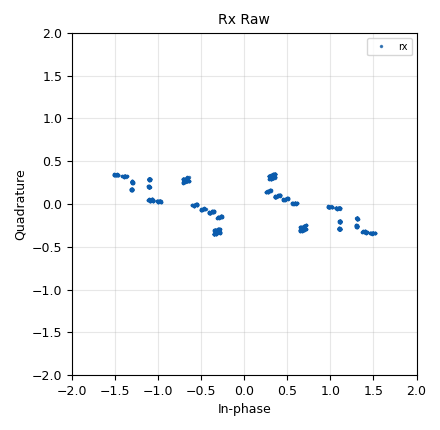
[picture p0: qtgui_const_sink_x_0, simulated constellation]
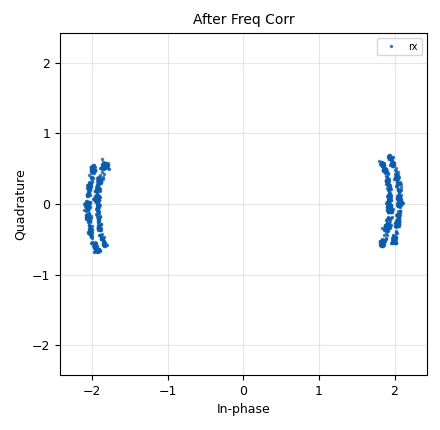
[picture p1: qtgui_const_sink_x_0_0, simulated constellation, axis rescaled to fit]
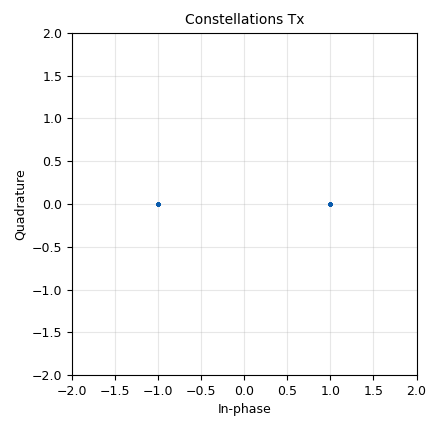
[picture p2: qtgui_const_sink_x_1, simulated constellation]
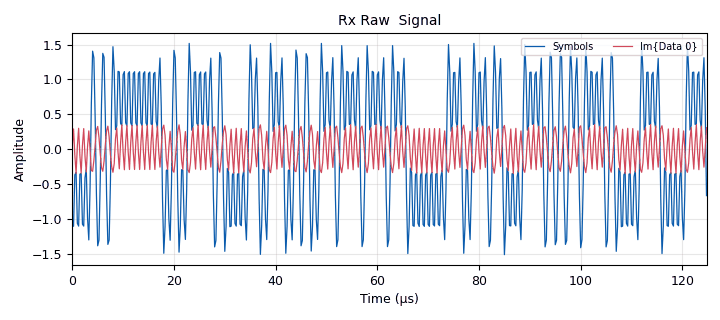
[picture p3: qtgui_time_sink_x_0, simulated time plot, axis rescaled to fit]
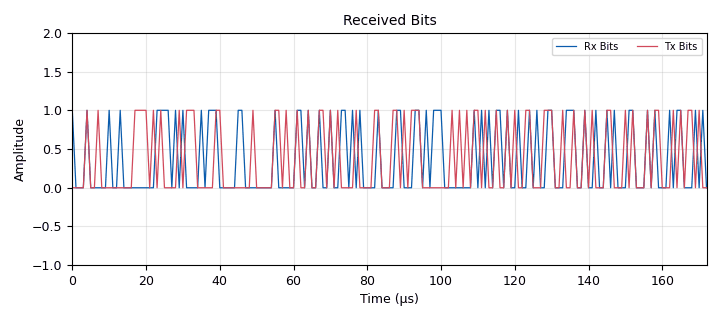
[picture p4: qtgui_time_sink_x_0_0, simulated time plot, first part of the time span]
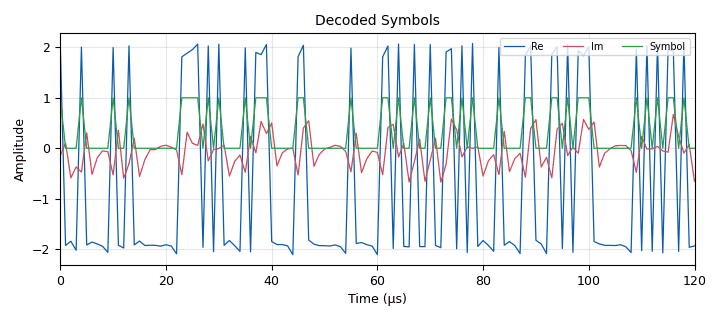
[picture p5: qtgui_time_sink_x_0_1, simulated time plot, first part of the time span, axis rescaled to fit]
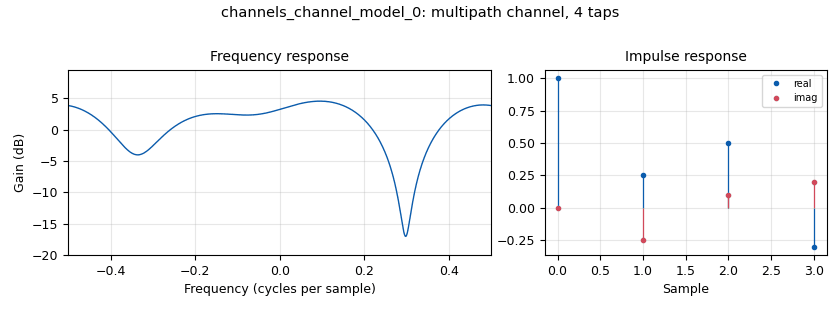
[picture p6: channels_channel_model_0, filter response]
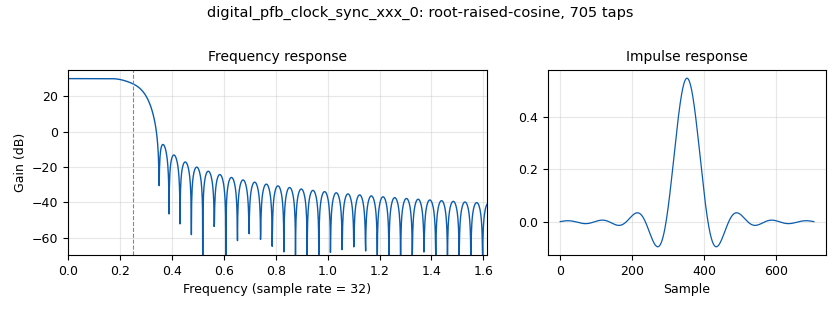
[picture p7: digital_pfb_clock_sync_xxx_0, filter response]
options:
  parameters:
    author: root
    generate_options: qt_gui
    id: test
    output_language: python
    title: Not titled yet
  states: {}

blocks:
- name: arity
  id: variable
  parameters:
    value: '2'
  states: {}
- name: bits_per_chunk
  id: variable
  parameters:
    value: int(math.log2(arity))
  states: {}
- name: bits_per_symbol
  id: variable
  parameters:
    value: math.log2(arity)
  states: {}
- name: bpsk
  id: variable_constellation_rect
  parameters:
    const_points: '[-1,1]'
    imag_sect: '2'
    real_sect: '2'
    rot_sym: '4'
    sym_map: '[0, 1]'
    w_imag_sect: '1'
    w_real_sect: '1'
  states: {}
- name: chunks_per_byte
  id: variable
  parameters:
    value: int(8/bits_per_chunk)
  states: {}
- name: delay
  id: variable_qtgui_range
  parameters:
    gui_hint: 1,0,1,1
    label: Delay
    start: '0'
    step: '1'
    stop: '200'
    value: '1'
  states: {}
- name: eq_gain
  id: variable_qtgui_range
  parameters:
    gui_hint: 'controls@1: 0,1,1,1'
    label: 'Equalizer: rate'
    start: '0.0'
    step: '0.001'
    stop: '0.1'
    value: '0.01'
    widget: slider
  states: {}
- name: freq_offset
  id: variable_qtgui_range
  parameters:
    gui_hint: 'controls@0: 0,1,1,1'
    label: Frequency Offset
    start: '-0.1'
    step: '0.001'
    stop: '0.1'
    value: '0'
  states: {}
- name: nfilts
  id: variable
  parameters:
    value: '32'
  states: {}
- name: noise_volt
  id: variable_qtgui_range
  parameters:
    gui_hint: 'controls@0: 0,0,1,1'
    label: Noise Voltage
    start: '0'
    step: '0.01'
    stop: '1'
    value: '0'
  states: {}
- name: phase_bw
  id: variable_qtgui_range
  parameters:
    gui_hint: 'controls@1: 0,2,1,1'
    label: 'Phase: Bandwidth'
    start: '0.0'
    step: '0.01'
    stop: '1.0'
    value: 6.28/100.0
    widget: slider
  states: {}
- name: rf_samp_rate
  id: variable
  parameters:
    value: samp_rate * chunks_per_byte * rrc_interpolation
  states: {}
- name: rrc_interpolation
  id: variable
  parameters:
    value: '4'
  states: {}
- name: rrc_taps
  id: variable_rrc_filter_taps
  parameters:
    alpha: '0.35'
    gain: '2'
    ntaps: 11*sps
    samp_rate: samp_rate * 4
    sym_rate: samp_rate * 4 / sps
  states: {}
- name: rrc_taps_rx
  id: variable
  parameters:
    value: firdes.root_raised_cosine(nfilts, nfilts, 1.0/float(sps), 0.35, 11*sps*nfilts)
  states: {}
- name: samp_rate
  id: variable
  parameters:
    value: 125e3
  states: {}
- name: sps
  id: variable
  parameters:
    value: '2'
  states: {}
- name: taps
  id: variable
  parameters:
    value: '[1.0, 0.25-0.25j, 0.50 + 0.10j, -0.3 + 0.2j]'
  states: {}
- name: time_offset
  id: variable_qtgui_range
  parameters:
    gui_hint: 'controls@0: 0,2,1,1'
    label: Timing Offset
    start: '0.999'
    step: '0.0001'
    stop: '1.001'
    value: '1.00'
  states: {}
- name: timing_loop_bw
  id: variable_qtgui_range
  parameters:
    gui_hint: 'controls@1: 0,0,1,1'
    label: 'Time: BW'
    start: '0.0'
    step: '0.01'
    stop: '0.2'
    value: 6.28/100.0
    widget: slider
  states: {}
- name: variable_adaptive_algorithm_0
  id: variable_adaptive_algorithm
  parameters:
    cons: bpsk
    modulus: '4'
    step_size: '100e-6'
    type: cma
  states: {}
- name: analog_random_source_x_0
  id: analog_random_source_x
  parameters:
    max: '256'
    min: '0'
    num_samps: '1000'
    repeat: 'True'
    type: byte
  states: {}
- name: blocks_char_to_float_0
  id: blocks_char_to_float
  parameters:
    scale: '1'
  states: {}
- name: blocks_char_to_float_0_0
  id: blocks_char_to_float
  parameters:
    scale: '1'
  states: {}
- name: blocks_char_to_float_0_0_0
  id: blocks_char_to_float
  parameters:
    scale: '1'
  states: {}
- name: blocks_complex_to_float_0
  id: blocks_complex_to_float
  parameters: {}
  states: {}
- name: blocks_delay_0
  id: blocks_delay
  parameters:
    delay: int(delay)
    type: float
  states: {}
- name: blocks_message_debug_0
  id: blocks_message_debug
  parameters: {}
  states: {}
- name: blocks_packed_to_unpacked_xx_0
  id: blocks_packed_to_unpacked_xx
  parameters:
    bits_per_chunk: bits_per_chunk
    comment: |-
      1M chunks (symbols) per sec
      samp_rate * chunks_per_byte
      samp_rate is 125 K
      chunks_per_byte is 8
    endianness: gr.GR_MSB_FIRST
    type: byte
  states: {}
- name: blocks_probe_rate_0
  id: blocks_probe_rate
  parameters:
    alpha: '0.15'
    mintime: '500.0'
    type: byte
  states: {state: disabled}
- name: blocks_throttle_0
  id: blocks_throttle
  parameters:
    samples_per_second: samp_rate
    type: byte
  states: {}
- name: blocks_unpack_k_bits_bb_0
  id: blocks_unpack_k_bits_bb
  parameters:
    comment: 4M bits/sec
    k: bits_per_chunk
  states: {}
- name: blocks_unpack_k_bits_bb_0_0
  id: blocks_unpack_k_bits_bb
  parameters:
    k: '8'
  states: {}
- name: blocks_vector_source_x_0
  id: blocks_vector_source_x
  parameters:
    repeat: 'True'
    type: byte
    vector: 20*[0,]+[1,]+[0]
  states: {state: disabled}
- name: channels_channel_model_0
  id: channels_channel_model
  parameters:
    epsilon: time_offset
    freq_offset: freq_offset
    noise_voltage: noise_volt
    seed: '0'
    taps: taps
  states: {}
- name: controls
  id: qtgui_tab_widget
  parameters:
    gui_hint: 0,0,1,2
    label0: Channel
    label1: Receiver
    num_tabs: '2'
  states: {}
- name: digital_chunks_to_symbols_xx_0
  id: digital_chunks_to_symbols_xx
  parameters:
    dimension: '1'
    in_type: byte
    out_type: complex
    symbol_table: '[-1,1]'
  states: {}
- name: digital_constellation_decoder_cb_0
  id: digital_constellation_decoder_cb
  parameters:
    comment: |-
      2M symbols/sec
      (1 symbol / sample)
    constellation: bpsk
  states: {}
- name: digital_costas_loop_cc_0
  id: digital_costas_loop_cc
  parameters:
    order: arity
    w: phase_bw
  states: {}
- name: digital_linear_equalizer_0
  id: digital_linear_equalizer
  parameters:
    alg: variable_adaptive_algorithm_0
    comment: |-
      2M symbols/sec
      (1 symbol / sample)
    num_taps: '15'
    sps: '2'
    training_sequence: '[]'
  states: {}
- name: digital_map_bb_0_0
  id: digital_map_bb
  parameters:
    map: '[0,1]'
  states: {}
- name: digital_pfb_clock_sync_xxx_0
  id: digital_pfb_clock_sync_xxx
  parameters:
    comment: |-
      2M symbols / sec
      4M samples / sec
      (2 symbols / sample)
    filter_size: nfilts
    init_phase: nfilts/2
    loop_bw: timing_loop_bw
    max_dev: '1.5'
    osps: '2'
    sps: sps * 2
    taps: rrc_taps_rx
    type: ccf
  states: {}
- name: import_0
  id: import
  parameters:
    imports: import math
  states: {}
- name: interp_fir_filter_xxx_0
  id: interp_fir_filter_xxx
  parameters:
    comment: |-
      4M sample per sec
      samp_rate * chunks_per_byte * Interpolation
      125K         * 8                        * 4
    interp: rrc_interpolation
    taps: rrc_taps
    type: ccc
  states: {}
- name: note_0
  id: note
  parameters:
    note: 1 samp_rate
  states: {}
- name: note_0_0
  id: note
  parameters:
    note: 8 samp_rate
  states: {}
- name: note_0_0_0
  id: note
  parameters:
    note: 8 samp_rate
  states: {}
- name: note_0_0_0_0
  id: note
  parameters:
    note: 16 samp_rate
  states: {}
- name: note_0_0_0_0_0_0_0_0_0_0_0
  id: note
  parameters:
    note: 8 samp_rate
  states: {}
- name: note_0_0_1_0_0
  id: note
  parameters:
    note: 8 samp_rate
  states: {}
- name: note_0_0_1_0_0_0
  id: note
  parameters:
    note: 8 samp_rate
  states: {}
- name: note_0_0_1_0_0_0_0
  id: note
  parameters:
    note: 8 samp_rate
  states: {}
- name: note_0_1
  id: note
  parameters:
    note: 1 samp_rate
  states: {}
- name: note_0_1_0
  id: note
  parameters:
    note: 8 samp_rate
  states: {}
- name: qtgui_const_sink_x_0
  id: qtgui_const_sink_x
  parameters:
    label1: rx
    name: '"Rx Raw"'
    size: '1024'
    type: complex
  states: {}
- name: qtgui_const_sink_x_0_0
  id: qtgui_const_sink_x
  parameters:
    label1: rx
    name: '"After Freq Corr"'
    size: '1024'
    type: complex
  states: {}
- name: qtgui_const_sink_x_1
  id: qtgui_const_sink_x
  parameters:
    name: '"Constellations Tx"'
    size: '1024'
    type: complex
  states: {}
- name: qtgui_time_sink_x_0
  id: qtgui_time_sink_x
  parameters:
    label1: Symbols
    label2: ''
    name: Rx Raw  Signal
    size: '500'
    srate: rf_samp_rate
    type: complex
    ymax: '4'
  states: {}
- name: qtgui_time_sink_x_0_0
  id: qtgui_time_sink_x
  parameters:
    gui_hint: 2,1,1,1
    label1: Rx Bits
    label2: Tx Bits
    name: Received Bits
    nconnections: '2'
    size: '500'
    srate: samp_rate * chunks_per_byte
    type: float
    ymax: '2'
  states: {}
- name: qtgui_time_sink_x_0_1
  id: qtgui_time_sink_x
  parameters:
    label1: Re
    label2: Im
    label3: Symbol
    name: '"Decoded Symbols"'
    nconnections: '3'
    size: '500'
    srate: samp_rate * chunks_per_byte
    style1: '2'
    style2: '4'
    type: float
    ymax: '4'
  states: {}
- name: qtgui_time_sink_x_1
  id: qtgui_time_sink_x
  parameters:
    name: '"Tx Signal BB"'
    size: '1024'
    srate: rf_samp_rate
    type: complex
  states: {}
- name: virtual_sink_0
  id: virtual_sink
  parameters:
    comment: samp_rate
    stream_id: bytes_in
  states: {}
- name: virtual_sink_1
  id: virtual_sink
  parameters:
    stream_id: transmitted_signal
  states: {}
- name: virtual_sink_2
  id: virtual_sink
  parameters:
    stream_id: received_signal
  states: {}
- name: virtual_source_0
  id: virtual_source
  parameters:
    stream_id: bytes_in
  states: {}
- name: virtual_source_0_0
  id: virtual_source
  parameters:
    comment: samp_rate
    stream_id: bytes_in
  states: {}
- name: virtual_source_1
  id: virtual_source
  parameters:
    stream_id: transmitted_signal
  states: {}
- name: virtual_source_2
  id: virtual_source
  parameters:
    comment: |-
      4M sample per sec
      samp_rate * chunks_per_byte * Interpolation
      125K         * 8                        * 4
    stream_id: received_signal
  states: {}

connections:
- [analog_random_source_x_0, '0', blocks_throttle_0, '0']
- [blocks_char_to_float_0, '0', qtgui_time_sink_x_0_1, '2']
- [blocks_char_to_float_0_0, '0', qtgui_time_sink_x_0_0, '0']
- [blocks_char_to_float_0_0_0, '0', blocks_delay_0, '0']
- [blocks_complex_to_float_0, '0', qtgui_time_sink_x_0_1, '0']
- [blocks_complex_to_float_0, '1', qtgui_time_sink_x_0_1, '1']
- [blocks_delay_0, '0', qtgui_time_sink_x_0_0, '1']
- [blocks_packed_to_unpacked_xx_0, '0', digital_chunks_to_symbols_xx_0, '0']
- [blocks_probe_rate_0, rate, blocks_message_debug_0, print]
- [blocks_throttle_0, '0', virtual_sink_0, '0']
- [blocks_unpack_k_bits_bb_0, '0', blocks_char_to_float_0_0, '0']
- [blocks_unpack_k_bits_bb_0_0, '0', blocks_char_to_float_0_0_0, '0']
- [blocks_vector_source_x_0, '0', blocks_throttle_0, '0']
- [channels_channel_model_0, '0', virtual_sink_2, '0']
- [digital_chunks_to_symbols_xx_0, '0', interp_fir_filter_xxx_0, '0']
- [digital_chunks_to_symbols_xx_0, '0', qtgui_const_sink_x_1, '0']
- [digital_constellation_decoder_cb_0, '0', digital_map_bb_0_0, '0']
- [digital_costas_loop_cc_0, '0', blocks_complex_to_float_0, '0']
- [digital_costas_loop_cc_0, '0', digital_constellation_decoder_cb_0, '0']
- [digital_costas_loop_cc_0, '0', qtgui_const_sink_x_0_0, '0']
- [digital_linear_equalizer_0, '0', digital_costas_loop_cc_0, '0']
- [digital_map_bb_0_0, '0', blocks_char_to_float_0, '0']
- [digital_map_bb_0_0, '0', blocks_unpack_k_bits_bb_0, '0']
- [digital_pfb_clock_sync_xxx_0, '0', digital_linear_equalizer_0, '0']
- [interp_fir_filter_xxx_0, '0', qtgui_time_sink_x_1, '0']
- [interp_fir_filter_xxx_0, '0', virtual_sink_1, '0']
- [virtual_source_0, '0', blocks_unpack_k_bits_bb_0_0, '0']
- [virtual_source_0_0, '0', blocks_packed_to_unpacked_xx_0, '0']
- [virtual_source_1, '0', channels_channel_model_0, '0']
- [virtual_source_2, '0', digital_pfb_clock_sync_xxx_0, '0']
- [virtual_source_2, '0', qtgui_const_sink_x_0, '0']
- [virtual_source_2, '0', qtgui_time_sink_x_0, '0']

metadata:
  file_format: 1
  grc_version: 3.10.5.1
